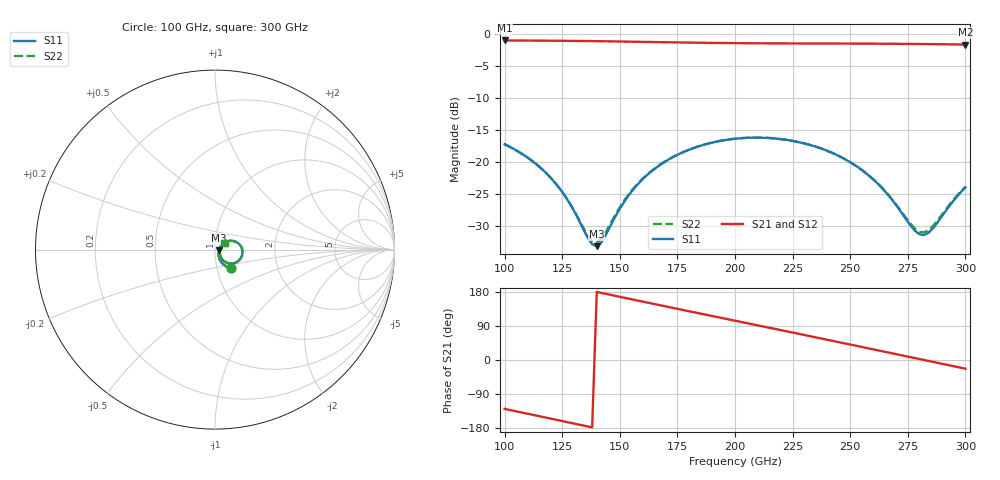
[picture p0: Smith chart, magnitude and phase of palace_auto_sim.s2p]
#  GHZ S DB R 50
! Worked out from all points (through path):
!   101 points, 100 GHz to 300 GHz, reference 50 ohm
!   highest |S21| = -1.08 dB at 100 GHz (marker M1); lowest = -1.7 dB at 300 GHz (marker M2)
!   group delay of S21, straight-line fit = 3.51 ps
!   lowest |S11| = -33.2 dB at 140 GHz (marker M3), VSWR 1.04, Z = 52.2 - j0.427 ohm
!   |S11| at or under -10 dB: start of sweep to end of sweep
!   |S22| runs from -32.6 to -16.2 dB; largest |S21 - S12| = 1.5e-13
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100  -17.26 -49.1  -1.08 -129.0  -1.08 -129.0  -17.28 -48.5
110  -19.34 -57.9  -1.10 -141.8  -1.10 -141.8  -19.36 -57.1
120  -22.49 -64.1  -1.12 -154.7  -1.12 -154.7  -22.49 -62.9
128  -26.34 -63.3  -1.15 -165.0  -1.15 -165.0  -26.29 -61.4
134  -30.39 -50.7  -1.17 -172.7  -1.17 -172.7  -30.17 -48.1
138  -32.86 -27.2  -1.19 -177.8  -1.19 -177.8  -32.38 -25.2
140  -33.15 -10.7  -1.20 179.6  -1.20 179.6  -32.59 -9.8
142  -32.55 5.0  -1.21 177.0  -1.21 177.0  -32.02 4.8
154  -25.16 36.3  -1.27 161.7  -1.27 161.7  -25.02 35.4
160  -22.69 35.5  -1.31 154.0  -1.31 154.0  -22.60 34.8
168  -20.36 30.7  -1.35 143.9  -1.35 143.9  -20.31 30.2
184  -17.62 16.6  -1.44 123.7  -1.44 123.7  -17.60 16.4
200  -16.41 0.5  -1.50 103.7  -1.50 103.7  -16.40 0.6
216  -16.33 -16.0  -1.54 83.7  -1.54 83.7  -16.32 -15.8
234  -17.53 -34.0  -1.56 61.1  -1.56 61.1  -17.53 -33.6
252  -20.52 -49.4  -1.57 38.3  -1.57 38.3  -20.51 -48.6
260  -22.74 -53.5  -1.59 28.1  -1.59 28.1  -22.72 -52.4
268  -25.84 -52.5  -1.60 17.9  -1.60 17.9  -25.77 -51.0
278  -30.71 -28.8  -1.63 5.2  -1.63 5.2  -30.40 -27.1
282  -31.42 -7.0  -1.64 0.1  -1.64 0.1  -31.02 -6.4
286  -30.34 13.3  -1.66 -5.0  -1.66 -5.0  -29.99 13.0
300  -24.00 34.1  -1.72 -22.8  -1.72 -22.8  -23.90 33.6
